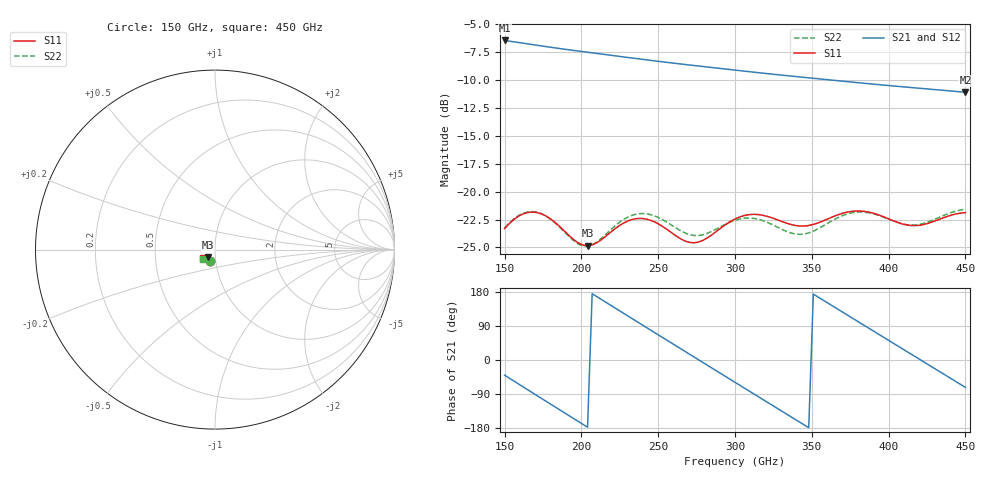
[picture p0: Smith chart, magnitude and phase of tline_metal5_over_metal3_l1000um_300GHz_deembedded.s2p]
! Created with skrf 2.2.0 (http://scikit-rf.org).
# GHz S DB R 50.0
! Port[1] = P1
! Port[2] = P2
!freq dBS11 angS11 dBS21 angS21 dBS12 angS12 dBS22 angS22
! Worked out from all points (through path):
!   101 points, 150 GHz to 450 GHz, reference 50 ohm
!   highest |S21| = -6.47 dB at 150 GHz (marker M1); lowest = -11.1 dB at 450 GHz (marker M2)
!   group delay of S21, straight-line fit = 6.96 ps
!   lowest |S11| = -24.8 dB at 204 GHz (marker M3), VSWR 1.12, Z = 46 - j3.82 ohm
!   |S11| at or under -10 dB: start of sweep to end of sweep
!   |S22| runs from -24.9 to -21.6 dB; largest |S21 - S12| = 5e-15
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150  -23.31 -114.7  -6.47 -40.0  -6.47 -40.0  -23.27 -111.9
162  -22.00 -122.6  -6.71 -70.7  -6.71 -70.7  -21.94 -120.4
174  -21.99 -133.7  -6.96 -101.3  -6.96 -101.3  -21.98 -131.8
189  -23.54 -141.5  -7.25 -139.4  -7.25 -139.4  -23.62 -139.3
201  -24.78 -136.3  -7.47 -169.8  -7.47 -169.8  -24.86 -133.0
204  -24.84 -133.8  -7.53 -177.4  -7.53 -177.4  -24.89 -130.2
216  -23.98 -126.9  -7.74 152.2  -7.74 152.2  -23.81 -123.0
231  -22.59 -131.1  -8.00 114.3  -8.00 114.3  -22.23 -127.8
240  -22.41 -136.9  -8.16 91.6  -8.16 91.6  -21.96 -134.0
252  -23.04 -143.0  -8.37 61.5  -8.37 61.5  -22.45 -141.0
264  -24.18 -142.5  -8.56 31.4  -8.56 31.4  -23.46 -142.3
276  -24.53 -134.7  -8.75 1.3  -8.75 1.3  -23.94 -137.3
288  -23.55 -129.5  -8.94 -28.8  -8.94 -28.8  -23.34 -133.3
300  -22.45 -131.7  -9.12 -58.9  -9.12 -58.9  -22.56 -135.3
321  -22.22 -141.5  -9.44 -111.3  -9.44 -111.3  -22.75 -143.5
336  -22.93 -142.7  -9.65 -148.8  -9.65 -148.8  -23.69 -142.2
351  -22.94 -138.5  -9.86 173.8  -9.86 173.8  -23.54 -135.1
363  -22.30 -137.9  -10.02 143.9  -10.02 143.9  -22.62 -133.6
378  -21.74 -142.5  -10.22 106.6  -10.22 106.6  -21.86 -138.5
402  -22.56 -148.8  -10.53 47.0  -10.53 47.0  -22.57 -145.2
426  -22.83 -142.5  -10.82 -12.7  -10.82 -12.7  -22.70 -138.6
450  -21.88 -145.4  -11.10 -72.2  -11.10 -72.2  -21.58 -142.0
